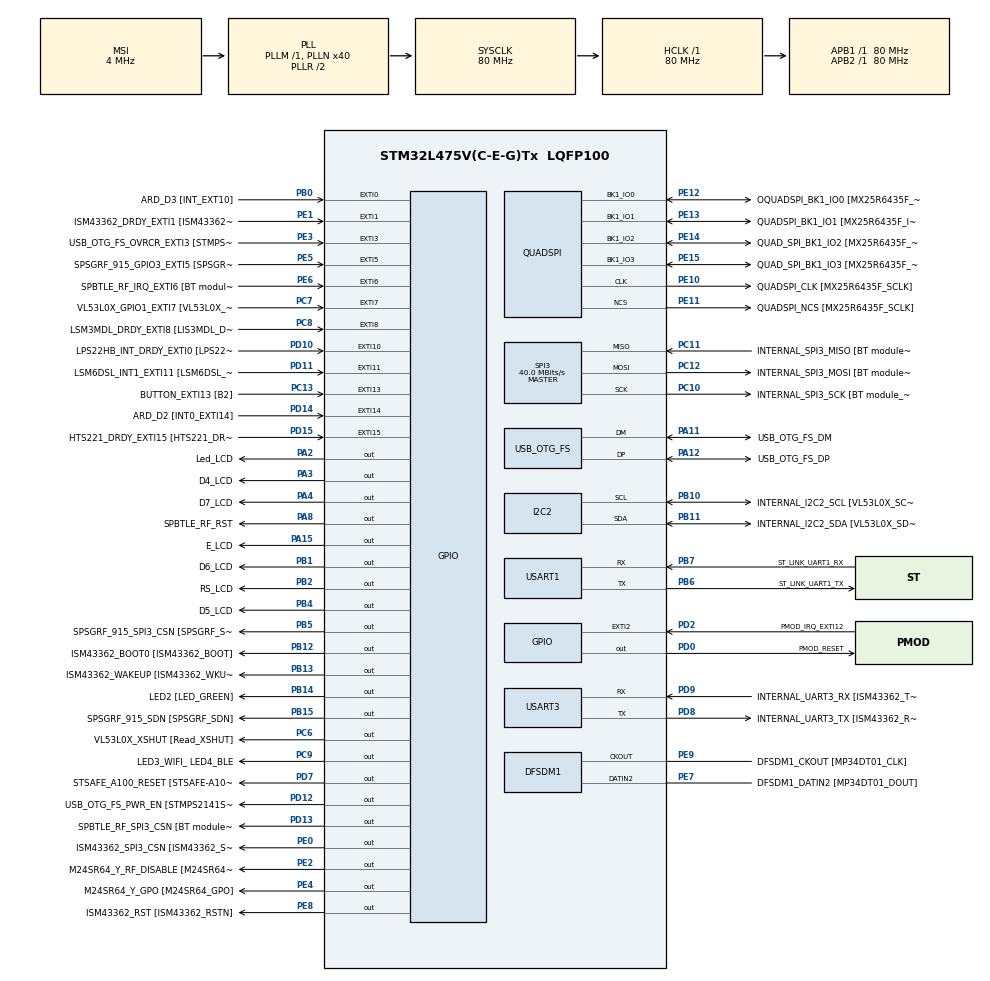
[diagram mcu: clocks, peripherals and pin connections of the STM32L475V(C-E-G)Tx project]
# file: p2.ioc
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Mcu.Family=STM32L4
Mcu.Name=STM32L475V(C-E-G)Tx
Mcu.Package=LQFP100
NVIC.EXTI15_10_IRQn=true\:0\:0\:false\:false\:true\:true\:true
NVIC.EXTI9_5_IRQn=true\:0\:0\:false\:false\:true\:true\:true
NVIC.PriorityGroup=NVIC_PRIORITYGROUP_4
PA0.GPIO_Label=ARD_D1 [UART4_TX]
PA0.Signal=UART4_TX
PA1.GPIO_Label=ARD_D0 [UART4_RX]
PA1.Signal=UART4_RX
PA10.GPIO_Label=USB_OTG_FS_ID
PA10.Signal=USB_OTG_FS_ID
PA11.GPIO_Label=USB_OTG_FS_DM
PA11.Mode=Device_Only
PA11.Signal=USB_OTG_FS_DM
PA12.GPIO_Label=USB_OTG_FS_DP
PA12.Mode=Device_Only
PA12.Signal=USB_OTG_FS_DP
PA13\ (JTMS-SWDIO).GPIO_Label=SYS_JTMS_SWDIO
PA13\ (JTMS-SWDIO).Mode=Serial_Wire
PA13\ (JTMS-SWDIO).Signal=SYS_JTMS-SWDIO
PA14\ (JTCK-SWCLK).GPIO_Label=SYS_JTCK_SWCLK
PA14\ (JTCK-SWCLK).Mode=Serial_Wire
PA14\ (JTCK-SWCLK).Signal=SYS_JTCK-SWCLK
PA15\ (JTDI).GPIO_Label=E_LCD
PA15\ (JTDI).Signal=GPIO_Output
PA2.GPIO_Label=Led_LCD
PA2.Signal=GPIO_Output
PA3.GPIO_Label=D4_LCD
PA3.Signal=GPIO_Output
PA4.GPIO_Label=D7_LCD
PA4.Signal=GPIO_Output
PA5.GPIO_Label=ARD_D13 [SPI1_SCK]
PA5.Signal=SPI1_SCK
PA6.GPIO_Label=ARD_D12 [SPI1_MISO]
PA6.Signal=SPI1_MISO
PA7.GPIO_Label=ARD_D11 [SPI1_MOSI]
PA7.Signal=SPI1_MOSI
PA8.GPIO_Label=SPBTLE_RF_RST
PA8.Signal=GPIO_Output
PA9.GPIO_Label=USB_OTG_FS_VBUS [STMPS2141STR_OUT]
PA9.Signal=USB_OTG_FS_VBUS
PB0.GPIO_Label=ARD_D3 [INT_EXT10]
PB0.Signal=GPXTI0
PB1.GPIO_Label=D6_LCD
PB1.Signal=GPIO_Output
PB10.GPIO_Label=INTERNAL_I2C2_SCL [VL53L0X_SCL]
PB10.Mode=I2C
PB10.Signal=I2C2_SCL
PB11.GPIO_Label=INTERNAL_I2C2_SDA [VL53L0X_SDA]
PB11.Mode=I2C
PB11.Signal=I2C2_SDA
PB12.GPIO_Label=ISM43362_BOOT0 [ISM43362_BOOT]
PB12.Signal=GPIO_Output
PB13.GPIO_Label=ISM43362_WAKEUP [ISM43362_WKUP]
PB13.Signal=GPIO_Output
PB14.GPIO_Label=LED2 [LED_GREEN]
PB14.Signal=GPIO_Output
PB15.GPIO_Label=SPSGRF_915_SDN [SPSGRF_SDN]
PB15.Signal=GPIO_Output
PB2.GPIO_Label=RS_LCD
PB2.Signal=GPIO_Output
PB3\ (JTDO-TRACESWO).GPIO_Label=SYS_JTD0_SWO
PB3\ (JTDO-TRACESWO).Signal=SYS_JTDO-SWO
PB4\ (NJTRST).GPIO_Label=D5_LCD
PB4\ (NJTRST).Signal=GPIO_Output
PB5.GPIO_Label=SPSGRF_915_SPI3_CSN [SPSGRF_SPI_CS]
PB5.PinState=GPIO_PIN_SET
PB5.Signal=GPIO_Output
PB6.GPIO_Label=ST_LINK_UART1_TX
PB6.Mode=Asynchronous
PB6.Signal=USART1_TX
PB7.GPIO_Label=ST_LINK_UART1_RX
PB7.Mode=Asynchronous
PB7.Signal=USART1_RX
PB8.GPIO_Label=ARD_D15 [I2C1_SCL]
PB8.Signal=I2C1_SCL
PB9.GPIO_Label=ARD_D14 [I2C1_SDA]
PB9.Signal=I2C1_SDA
PC0.GPIO_Label=ARD_A5 [ADC]
PC0.Signal=ADCx_IN1
PC1.GPIO_Label=ARD_A4 [ADC]
PC1.Signal=ADCx_IN2
PC10.GPIO_Label=INTERNAL_SPI3_SCK [BT module_SPI_SCLK] [ISM43362_SCK]
PC10.Mode=Full_Duplex_Master
PC10.Signal=SPI3_SCK
PC11.GPIO_Label=INTERNAL_SPI3_MISO [BT module_SPI_MISO] [ISM43362_MISO]
PC11.Mode=Full_Duplex_Master
PC11.Signal=SPI3_MISO
PC12.GPIO_Label=INTERNAL_SPI3_MOSI [BT module_SPI_MOSI] [ISM43362_MOSI]
PC12.Mode=Full_Duplex_Master
PC12.Signal=SPI3_MOSI
PC13.GPIO_Label=BUTTON_EXTI13 [B2]
PC13.GPIO_ModeDefaultEXTI=GPIO_MODE_IT_FALLING
PC13.Signal=GPXTI13
PC14-OSC32_IN\ (PC14).Mode=LSE-External-Oscillator
PC14-OSC32_IN\ (PC14).Signal=RCC_OSC32_IN
PC15-OSC32_OUT\ (PC15).Mode=LSE-External-Oscillator
PC15-OSC32_OUT\ (PC15).Signal=RCC_OSC32_OUT
PC2.GPIO_Label=ARD_A3 [ADC]
PC2.Signal=ADCx_IN3
PC3.GPIO_Label=ARD_A2 [ADC]
PC3.Signal=ADCx_IN4
PC4.GPIO_Label=ARD_A1 [ADC]
PC4.Signal=ADCx_IN13
PC5.GPIO_Label=ARD_A0 [ADC]
PC5.Signal=ADCx_IN14
PC6.GPIO_Label=VL53L0X_XSHUT [Read_XSHUT]
PC6.Signal=GPIO_Output
PC7.GPIO_Label=VL53L0X_GPIO1_EXTI7 [VL53L0X_GPIO1]
PC7.Signal=GPXTI7
PC8.GPIO_Label=LSM3MDL_DRDY_EXTI8 [LIS3MDL_DRDY]
PC8.Signal=GPXTI8
PC9.GPIO_Label=LED3_WIFI_ LED4_BLE
PC9.Signal=GPIO_Output
PD0.GPIO_Label=PMOD_RESET
PD0.Signal=GPIO_Output
PD1.GPIO_Label=PMOD_SPI2_SCK
PD1.Signal=SPI2_SCK
PD10.GPIO_Label=LPS22HB_INT_DRDY_EXTI0 [LPS22HB_INT_DRDY] 
PD10.Signal=GPXTI10
PD11.GPIO_Label=LSM6DSL_INT1_EXTI11 [LSM6DSL_INT1]
PD11.Signal=GPXTI11
PD12.GPIO_Label=USB_OTG_FS_PWR_EN [STMPS2141STR_EN]
PD12.Signal=GPIO_Output
PD13.GPIO_Label=SPBTLE_RF_SPI3_CSN [BT module_SPI_CS]
PD13.PinState=GPIO_PIN_SET
PD13.Signal=GPIO_Output
PD14.GPIO_Label=ARD_D2 [INT0_EXTI14]
PD14.Signal=GPXTI14
PD15.GPIO_Label=HTS221_DRDY_EXTI15 [HTS221_DRDY]
PD15.Signal=GPXTI15
PD2.GPIO_Label=PMOD_IRQ_EXTI12
PD2.Signal=GPXTI2
PD3.GPIO_Label=PMOD_UART2_CTS
PD3.Signal=USART2_CTS
PD4.GPIO_Label=PMOD_UART2_RTS
PD4.Signal=USART2_RTS
PD5.GPIO_Label=PMOD_UART2_TX
PD5.Signal=USART2_TX
PD6.GPIO_Label=PMOD_UART2_RX
PD6.Signal=USART2_RX
PD7.GPIO_Label=STSAFE_A100_RESET [STSAFE-A100_RESET]
PD7.Signal=GPIO_Output
PD8.GPIO_Label=INTERNAL_UART3_TX [ISM43362_RX]
PD8.Mode=Asynchronous
PD8.Signal=USART3_TX
PD9.GPIO_Label=INTERNAL_UART3_RX [ISM43362_TX]
PD9.Mode=Asynchronous
PD9.Signal=USART3_RX
PE0.GPIO_Label=ISM43362_SPI3_CSN [ISM43362_SSN]
PE0.PinState=GPIO_PIN_SET
PE0.Signal=GPIO_Output
PE1.GPIO_Label=ISM43362_DRDY_EXTI1 [ISM43362_DATARDY]
PE1.Signal=GPXTI1
PE10.GPIO_Label=QUADSPI_CLK [MX25R6435F_SCLK]
PE10.Mode=Single Bank
PE10.Signal=QUADSPI_CLK
PE11.GPIO_Label=QUADSPI_NCS [MX25R6435F_SCLK]
PE11.Mode=Single Bank
PE11.Signal=QUADSPI_NCS
PE12.GPIO_Label=OQUADSPI_BK1_IO0 [MX25R6435F_IO0]
PE12.Mode=Single Bank
PE12.Signal=QUADSPI_BK1_IO0
PE13.GPIO_Label=QUADSPI_BK1_IO1 [MX25R6435F_IO1]
PE13.Mode=Single Bank
PE13.Signal=QUADSPI_BK1_IO1
PE14.GPIO_Label=QUAD_SPI_BK1_IO2 [MX25R6435F_IO2]
PE14.Mode=Single Bank
PE14.Signal=QUADSPI_BK1_IO2
PE15.GPIO_Label=QUAD_SPI_BK1_IO3 [MX25R6435F_IO3]
PE15.Mode=Single Bank
PE15.Signal=QUADSPI_BK1_IO3
PE2.GPIO_Label=M24SR64_Y_RF_DISABLE [M24SR64_RFDIS]
PE2.Signal=GPIO_Output
PE3.GPIO_Label=USB_OTG_FS_OVRCR_EXTI3 [STMPS2141STR_FAULT]
PE3.Signal=GPXTI3
PE4.GPIO_Label=M24SR64_Y_GPO [M24SR64_GPO]
PE4.Signal=GPIO_Output
PE5.GPIO_Label=SPSGRF_915_GPIO3_EXTI5 [SPSGRF_GPIO_3]
PE5.Signal=GPXTI5
PE6.GPIO_Label=SPBTLE_RF_IRQ_EXTI6 [BT module_SPI_IRQ]
PE6.Signal=GPXTI6
PE7.GPIO_Label=DFSDM1_DATIN2 [MP34DT01_DOUT]
PE7.Signal=S_DATAIN2DFSDM1
PE8.GPIO_Label=ISM43362_RST [ISM43362_RSTN]
PE8.Signal=GPIO_Output
PE9.GPIO_Label=DFSDM1_CKOUT [MP34DT01_CLK]
PE9.Signal=S_CKOUTDFSDM1
ProjectManager.HeapSize=0x200
ProjectManager.StackSize=0x400
ProjectManager.TargetToolchain=STM32CubeIDE
RCC.ADCFreq_Value=48000000
RCC.AHBFreq_Value=80000000
RCC.APB1Freq_Value=80000000
RCC.APB1TimFreq_Value=80000000
RCC.APB2Freq_Value=80000000
RCC.APB2TimFreq_Value=80000000
RCC.CortexFreq_Value=80000000
RCC.HCLKFreq_Value=80000000
RCC.HSE_VALUE=8000000
RCC.HSI_VALUE=16000000
RCC.MSI_VALUE=4000000
RCC.PLLN=40
RCC.PLLSAI1N=24
RCC.SYSCLKFreq_VALUE=80000000
RCC.SYSCLKSource=RCC_SYSCLKSOURCE_PLLCLK
RCC.USBFreq_Value=48000000
RCC.VCOOutputFreq_Value=160000000
SH.ADCx_IN1.0=ADC1_IN1
SH.ADCx_IN13.0=ADC1_IN13
SH.ADCx_IN14.0=ADC1_IN14
SH.ADCx_IN2.0=ADC1_IN2
SH.ADCx_IN3.0=ADC1_IN3
SH.ADCx_IN4.0=ADC1_IN4
SH.S_CKOUTDFSDM1.0=DFSDM1_CKOUT,CKOUT
SH.S_CKOUTDFSDM1.1=DFSDM1_CKOUT,PDM_SPI_Input_from_ch12_and_Internal_Clock
SH.S_DATAIN2DFSDM1.0=DFSDM1_DATIN2,PDM_SPI_Input_from_ch12_and_Internal_Clock
SPI3.CalculateBaudRate=40.0 MBits/s
SPI3.Direction=SPI_DIRECTION_2LINES
SPI3.Mode=SPI_MODE_MASTER
SPI3.VirtualType=VM_MASTER
USART1.VirtualMode-Asynchronous=VM_ASYNC
USART3.VirtualMode-Asynchronous=VM_ASYNC
USB_OTG_FS.VirtualMode=Device_Only
board=B-L475E-IOT01A1

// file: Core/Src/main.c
/* USER CODE BEGIN Header */
/**
  ******************************************************************************
  * @file           : main.c
  * @brief          : Main program body
  ******************************************************************************
  * @attention
  *
  * <h2><center>&copy; Copyright (c) 2024 STMicroelectronics.
  * All rights reserved.</center></h2>
  *
  * This software component is licensed by ST under BSD 3-Clause license,
  * the "License"; You may not use this file except in compliance with the
  * License. You may obtain a copy of the License at:
  *                        opensource.org/licenses/BSD-3-Clause
  *
  ******************************************************************************
  */
/* USER CODE END Header */

#include "main.h"

/* USER CODE BEGIN Includes */
#include "hd44780.h"
/* USER CODE END Includes */

DFSDM_Channel_HandleTypeDef hdfsdm1_channel1;

I2C_HandleTypeDef hi2c2;

QSPI_HandleTypeDef hqspi;

SPI_HandleTypeDef hspi3;

UART_HandleTypeDef huart1;
UART_HandleTypeDef huart3;

PCD_HandleTypeDef hpcd_USB_OTG_FS;

void SystemClock_Config(void);
static void MX_GPIO_Init(void);
static void MX_DFSDM1_Init(void);
static void MX_I2C2_Init(void);
static void MX_QUADSPI_Init(void);
static void MX_SPI3_Init(void);
static void MX_USART1_UART_Init(void);
static void MX_USART3_UART_Init(void);
static void MX_USB_OTG_FS_PCD_Init(void);

int main(void)
{

  /* MCU Configuration--------------------------------------------------------*/

  /* Reset of all peripherals, Initializes the Flash interface and the Systick. */
  HAL_Init();

  /* Configure the system clock */
  SystemClock_Config();

  /* Initialize all configured peripherals */
  MX_GPIO_Init();
  MX_DFSDM1_Init();
  MX_I2C2_Init();
  MX_QUADSPI_Init();
  MX_SPI3_Init();
  MX_USART1_UART_Init();
  MX_USART3_UART_Init();
  MX_USB_OTG_FS_PCD_Init();
  /* USER CODE BEGIN 2 */
  LL_GPIO_SetOutputPin(GPIOA, Led_LCD_Pin);
  lcd_reset();
  lcd_display_settings(1,0,0);
  lcd_clear();
  lcd_print("Hola mundo");

  lcd_cgram_address(0); // se selecciona la dirección 0 de la CGRAM, patrón con código 0
  lcd_write(0x15, 1); //se va cargando con los bytes del patrón de cada fila de la CGRAM
  lcd_write(0x15, 1);
  lcd_write(0xe, 1);
  lcd_write(0x4, 1);
  lcd_write(0x4, 1);
  lcd_write(0xa, 1);
  lcd_write(0x11, 1);
  lcd_write(0x00, 1);
  lcd_cgram_address(8); //se selecciona la dirección 8 de la CGRAM, patrón con código 1
  lcd_write(0x4, 1); // se va cargando con los bytes del patrón de cada fila de la CGRAM
  lcd_write(0x4, 1);
  lcd_write(0xe, 1);
  lcd_write(0x15, 1);
  lcd_write(0x15, 1);
  lcd_write(0xa, 1);
  lcd_write(0xa, 1);
  lcd_write(0x00, 1);
  lcd_display_address(0); //Vuelve a direccionar la DDRAM para visualizar datos en pantalla
  /* USER CODE END 2 */

  /* Infinite loop */
  /* USER CODE BEGIN WHILE */
  while (1)
  {
	  moveToXY(1,7); //sitúa el cursor en la posición fila 1 columna 7, primer muñeco
	    lcd_write(0,1); //escribe el nuevo patrón 0 en la DDRAM
	    moveToXY(1,8); //sitúa el cursor en la posición fila 1 columna 7, segundo muñeco
	    lcd_write(0,1);
	    HAL_Delay(1000); //retraso de 1 segundo para dejar ver la figura en pantalla

	    moveToXY(1,7);
	    lcd_write(1,1); //escribe el nuevo patrón 0 en la DDRAM
	    moveToXY(1,8);
	    lcd_write(1,1);
	    HAL_Delay(1000);
    /* USER CODE END WHILE */

  }
}

void SystemClock_Config(void)
{
  RCC_OscInitTypeDef RCC_OscInitStruct = {0};
  RCC_ClkInitTypeDef RCC_ClkInitStruct = {0};
  RCC_PeriphCLKInitTypeDef PeriphClkInit = {0};

  /** Configure LSE Drive Capability
  */
  HAL_PWR_EnableBkUpAccess();
  __HAL_RCC_LSEDRIVE_CONFIG(RCC_LSEDRIVE_LOW);
  /** Initializes the CPU, AHB and APB busses clocks
  */
  RCC_OscInitStruct.OscillatorType = RCC_OSCILLATORTYPE_LSE|RCC_OSCILLATORTYPE_MSI;
  RCC_OscInitStruct.LSEState = RCC_LSE_ON;
  RCC_OscInitStruct.MSIState = RCC_MSI_ON;
  RCC_OscInitStruct.MSICalibrationValue = 0;
  RCC_OscInitStruct.MSIClockRange = RCC_MSIRANGE_6;
  RCC_OscInitStruct.PLL.PLLState = RCC_PLL_ON;
  RCC_OscInitStruct.PLL.PLLSource = RCC_PLLSOURCE_MSI;
  RCC_OscInitStruct.PLL.PLLM = 1;
  RCC_OscInitStruct.PLL.PLLN = 40;
  RCC_OscInitStruct.PLL.PLLP = RCC_PLLP_DIV7;
  RCC_OscInitStruct.PLL.PLLQ = RCC_PLLQ_DIV2;
  RCC_OscInitStruct.PLL.PLLR = RCC_PLLR_DIV2;
  if (HAL_RCC_OscConfig(&RCC_OscInitStruct) != HAL_OK)
  {
    Error_Handler();
  }
  /** Initializes the CPU, AHB and APB busses clocks
  */
  RCC_ClkInitStruct.ClockType = RCC_CLOCKTYPE_HCLK|RCC_CLOCKTYPE_SYSCLK
                              |RCC_CLOCKTYPE_PCLK1|RCC_CLOCKTYPE_PCLK2;
  RCC_ClkInitStruct.SYSCLKSource = RCC_SYSCLKSOURCE_PLLCLK;
  RCC_ClkInitStruct.AHBCLKDivider = RCC_SYSCLK_DIV1;
  RCC_ClkInitStruct.APB1CLKDivider = RCC_HCLK_DIV1;
  RCC_ClkInitStruct.APB2CLKDivider = RCC_HCLK_DIV1;

  if (HAL_RCC_ClockConfig(&RCC_ClkInitStruct, FLASH_LATENCY_4) != HAL_OK)
  {
    Error_Handler();
  }
  PeriphClkInit.PeriphClockSelection = RCC_PERIPHCLK_USART1|RCC_PERIPHCLK_USART3
                              |RCC_PERIPHCLK_I2C2|RCC_PERIPHCLK_DFSDM1
                              |RCC_PERIPHCLK_USB;
  PeriphClkInit.Usart1ClockSelection = RCC_USART1CLKSOURCE_PCLK2;
  PeriphClkInit.Usart3ClockSelection = RCC_USART3CLKSOURCE_PCLK1;
  PeriphClkInit.I2c2ClockSelection = RCC_I2C2CLKSOURCE_PCLK1;
  PeriphClkInit.Dfsdm1ClockSelection = RCC_DFSDM1CLKSOURCE_PCLK;
  PeriphClkInit.UsbClockSelection = RCC_USBCLKSOURCE_PLLSAI1;
  PeriphClkInit.PLLSAI1.PLLSAI1Source = RCC_PLLSOURCE_MSI;
  PeriphClkInit.PLLSAI1.PLLSAI1M = 1;
  PeriphClkInit.PLLSAI1.PLLSAI1N = 24;
  PeriphClkInit.PLLSAI1.PLLSAI1P = RCC_PLLP_DIV7;
  PeriphClkInit.PLLSAI1.PLLSAI1Q = RCC_PLLQ_DIV2;
  PeriphClkInit.PLLSAI1.PLLSAI1R = RCC_PLLR_DIV2;
  PeriphClkInit.PLLSAI1.PLLSAI1ClockOut = RCC_PLLSAI1_48M2CLK;
  if (HAL_RCCEx_PeriphCLKConfig(&PeriphClkInit) != HAL_OK)
  {
    Error_Handler();
  }
  /** Configure the main internal regulator output voltage
  */
  if (HAL_PWREx_ControlVoltageScaling(PWR_REGULATOR_VOLTAGE_SCALE1) != HAL_OK)
  {
    Error_Handler();
  }
  /** Enable MSI Auto calibration
  */
  HAL_RCCEx_EnableMSIPLLMode();
}

static void MX_DFSDM1_Init(void)
{

  hdfsdm1_channel1.Instance = DFSDM1_Channel1;
  hdfsdm1_channel1.Init.OutputClock.Activation = ENABLE;
  hdfsdm1_channel1.Init.OutputClock.Selection = DFSDM_CHANNEL_OUTPUT_CLOCK_SYSTEM;
  hdfsdm1_channel1.Init.OutputClock.Divider = 2;
  hdfsdm1_channel1.Init.Input.Multiplexer = DFSDM_CHANNEL_EXTERNAL_INPUTS;
  hdfsdm1_channel1.Init.Input.DataPacking = DFSDM_CHANNEL_STANDARD_MODE;
  hdfsdm1_channel1.Init.Input.Pins = DFSDM_CHANNEL_FOLLOWING_CHANNEL_PINS;
  hdfsdm1_channel1.Init.SerialInterface.Type = DFSDM_CHANNEL_SPI_RISING;
  hdfsdm1_channel1.Init.SerialInterface.SpiClock = DFSDM_CHANNEL_SPI_CLOCK_INTERNAL;
  hdfsdm1_channel1.Init.Awd.FilterOrder = DFSDM_CHANNEL_FASTSINC_ORDER;
  hdfsdm1_channel1.Init.Awd.Oversampling = 1;
  hdfsdm1_channel1.Init.Offset = 0;
  hdfsdm1_channel1.Init.RightBitShift = 0x00;
  if (HAL_DFSDM_ChannelInit(&hdfsdm1_channel1) != HAL_OK)
  {
    Error_Handler();
  }

}

static void MX_I2C2_Init(void)
{

  hi2c2.Instance = I2C2;
  hi2c2.Init.Timing = 0x00000E14;
  hi2c2.Init.OwnAddress1 = 0;
  hi2c2.Init.AddressingMode = I2C_ADDRESSINGMODE_7BIT;
  hi2c2.Init.DualAddressMode = I2C_DUALADDRESS_DISABLE;
  hi2c2.Init.OwnAddress2 = 0;
  hi2c2.Init.OwnAddress2Masks = I2C_OA2_NOMASK;
  hi2c2.Init.GeneralCallMode = I2C_GENERALCALL_DISABLE;
  hi2c2.Init.NoStretchMode = I2C_NOSTRETCH_DISABLE;
  if (HAL_I2C_Init(&hi2c2) != HAL_OK)
  {
    Error_Handler();
  }
  /** Configure Analogue filter
  */
  if (HAL_I2CEx_ConfigAnalogFilter(&hi2c2, I2C_ANALOGFILTER_ENABLE) != HAL_OK)
  {
    Error_Handler();
  }
  /** Configure Digital filter
  */
  if (HAL_I2CEx_ConfigDigitalFilter(&hi2c2, 0) != HAL_OK)
  {
    Error_Handler();
  }

}

static void MX_QUADSPI_Init(void)
{

  /* QUADSPI parameter configuration*/
  hqspi.Instance = QUADSPI;
  hqspi.Init.ClockPrescaler = 255;
  hqspi.Init.FifoThreshold = 1;
  hqspi.Init.SampleShifting = QSPI_SAMPLE_SHIFTING_NONE;
  hqspi.Init.FlashSize = 1;
  hqspi.Init.ChipSelectHighTime = QSPI_CS_HIGH_TIME_1_CYCLE;
  hqspi.Init.ClockMode = QSPI_CLOCK_MODE_0;
  if (HAL_QSPI_Init(&hqspi) != HAL_OK)
  {
    Error_Handler();
  }

}

static void MX_SPI3_Init(void)
{

  /* SPI3 parameter configuration*/
  hspi3.Instance = SPI3;
  hspi3.Init.Mode = SPI_MODE_MASTER;
  hspi3.Init.Direction = SPI_DIRECTION_2LINES;
  hspi3.Init.DataSize = SPI_DATASIZE_4BIT;
  hspi3.Init.CLKPolarity = SPI_POLARITY_LOW;
  hspi3.Init.CLKPhase = SPI_PHASE_1EDGE;
  hspi3.Init.NSS = SPI_NSS_SOFT;
  hspi3.Init.BaudRatePrescaler = SPI_BAUDRATEPRESCALER_2;
  hspi3.Init.FirstBit = SPI_FIRSTBIT_MSB;
  hspi3.Init.TIMode = SPI_TIMODE_DISABLE;
  hspi3.Init.CRCCalculation = SPI_CRCCALCULATION_DISABLE;
  hspi3.Init.CRCPolynomial = 7;
  hspi3.Init.CRCLength = SPI_CRC_LENGTH_DATASIZE;
  hspi3.Init.NSSPMode = SPI_NSS_PULSE_ENABLE;
  if (HAL_SPI_Init(&hspi3) != HAL_OK)
  {
    Error_Handler();
  }

}

static void MX_USART1_UART_Init(void)
{

  huart1.Instance = USART1;
  huart1.Init.BaudRate = 115200;
  huart1.Init.WordLength = UART_WORDLENGTH_8B;
  huart1.Init.StopBits = UART_STOPBITS_1;
  huart1.Init.Parity = UART_PARITY_NONE;
  huart1.Init.Mode = UART_MODE_TX_RX;
  huart1.Init.HwFlowCtl = UART_HWCONTROL_NONE;
  huart1.Init.OverSampling = UART_OVERSAMPLING_16;
  huart1.Init.OneBitSampling = UART_ONE_BIT_SAMPLE_DISABLE;
  huart1.AdvancedInit.AdvFeatureInit = UART_ADVFEATURE_NO_INIT;
  if (HAL_UART_Init(&huart1) != HAL_OK)
  {
    Error_Handler();
  }

}

static void MX_USART3_UART_Init(void)
{

  huart3.Instance = USART3;
  huart3.Init.BaudRate = 115200;
  huart3.Init.WordLength = UART_WORDLENGTH_8B;
  huart3.Init.StopBits = UART_STOPBITS_1;
  huart3.Init.Parity = UART_PARITY_NONE;
  huart3.Init.Mode = UART_MODE_TX_RX;
  huart3.Init.HwFlowCtl = UART_HWCONTROL_NONE;
  huart3.Init.OverSampling = UART_OVERSAMPLING_16;
  huart3.Init.OneBitSampling = UART_ONE_BIT_SAMPLE_DISABLE;
  huart3.AdvancedInit.AdvFeatureInit = UART_ADVFEATURE_NO_INIT;
  if (HAL_UART_Init(&huart3) != HAL_OK)
  {
    Error_Handler();
  }

}

static void MX_USB_OTG_FS_PCD_Init(void)
{

  hpcd_USB_OTG_FS.Instance = USB_OTG_FS;
  hpcd_USB_OTG_FS.Init.dev_endpoints = 6;
  hpcd_USB_OTG_FS.Init.speed = PCD_SPEED_FULL;
  hpcd_USB_OTG_FS.Init.phy_itface = PCD_PHY_EMBEDDED;
  hpcd_USB_OTG_FS.Init.Sof_enable = DISABLE;
  hpcd_USB_OTG_FS.Init.low_power_enable = DISABLE;
  hpcd_USB_OTG_FS.Init.lpm_enable = DISABLE;
  hpcd_USB_OTG_FS.Init.battery_charging_enable = DISABLE;
  hpcd_USB_OTG_FS.Init.use_dedicated_ep1 = DISABLE;
  hpcd_USB_OTG_FS.Init.vbus_sensing_enable = DISABLE;
  if (HAL_PCD_Init(&hpcd_USB_OTG_FS) != HAL_OK)
  {
    Error_Handler();
  }

}

static void MX_GPIO_Init(void)
{
  LL_EXTI_InitTypeDef EXTI_InitStruct = {0};
  LL_GPIO_InitTypeDef GPIO_InitStruct = {0};

  /* GPIO Ports Clock Enable */
  LL_AHB2_GRP1_EnableClock(LL_AHB2_GRP1_PERIPH_GPIOE);
  LL_AHB2_GRP1_EnableClock(LL_AHB2_GRP1_PERIPH_GPIOC);
  LL_AHB2_GRP1_EnableClock(LL_AHB2_GRP1_PERIPH_GPIOA);
  LL_AHB2_GRP1_EnableClock(LL_AHB2_GRP1_PERIPH_GPIOB);
  LL_AHB2_GRP1_EnableClock(LL_AHB2_GRP1_PERIPH_GPIOD);

  /**/
  LL_GPIO_ResetOutputPin(GPIOE, M24SR64_Y_RF_DISABLE_Pin|M24SR64_Y_GPO_Pin|ISM43362_RST_Pin);

  /**/
  LL_GPIO_ResetOutputPin(GPIOA, Led_LCD_Pin|D4_LCD_Pin|D7_LCD_Pin|SPBTLE_RF_RST_Pin
                          |E_LCD_Pin);

  /**/
  LL_GPIO_ResetOutputPin(GPIOB, D6_LCD_Pin|RS_LCD_Pin|ISM43362_BOOT0_Pin|ISM43362_WAKEUP_Pin
                          |LED2_Pin|SPSGRF_915_SDN_Pin|D5_LCD_Pin);

  /**/
  LL_GPIO_ResetOutputPin(GPIOD, USB_OTG_FS_PWR_EN_Pin|PMOD_RESET_Pin|STSAFE_A100_RESET_Pin);

  /**/
  LL_GPIO_ResetOutputPin(GPIOC, VL53L0X_XSHUT_Pin|LED3_WIFI__LED4_BLE_Pin);

  /**/
  LL_GPIO_SetOutputPin(SPBTLE_RF_SPI3_CSN_GPIO_Port, SPBTLE_RF_SPI3_CSN_Pin);

  /**/
  LL_GPIO_SetOutputPin(SPSGRF_915_SPI3_CSN_GPIO_Port, SPSGRF_915_SPI3_CSN_Pin);

  /**/
  LL_GPIO_SetOutputPin(ISM43362_SPI3_CSN_GPIO_Port, ISM43362_SPI3_CSN_Pin);

  /**/
  GPIO_InitStruct.Pin = M24SR64_Y_RF_DISABLE_Pin|M24SR64_Y_GPO_Pin|ISM43362_RST_Pin|ISM43362_SPI3_CSN_Pin;
  GPIO_InitStruct.Mode = LL_GPIO_MODE_OUTPUT;
  GPIO_InitStruct.Speed = LL_GPIO_SPEED_FREQ_LOW;
  GPIO_InitStruct.OutputType = LL_GPIO_OUTPUT_PUSHPULL;
  GPIO_InitStruct.Pull = LL_GPIO_PULL_NO;
  LL_GPIO_Init(GPIOE, &GPIO_InitStruct);

  /**/
  GPIO_InitStruct.Pin = ARD_A5_Pin|ARD_A4_Pin|ARD_A3_Pin|ARD_A2_Pin
                          |ARD_A1_Pin|ARD_A0_Pin;
  GPIO_InitStruct.Mode = LL_GPIO_MODE_ANALOG;
  GPIO_InitStruct.Pull = LL_GPIO_PULL_NO;
  LL_GPIO_Init(GPIOC, &GPIO_InitStruct);

  /**/
  GPIO_InitStruct.Pin = ARD_D1_Pin|ARD_D0_Pin;
  GPIO_InitStruct.Mode = LL_GPIO_MODE_ALTERNATE;
  GPIO_InitStruct.Speed = LL_GPIO_SPEED_FREQ_VERY_HIGH;
  GPIO_InitStruct.OutputType = LL_GPIO_OUTPUT_PUSHPULL;
  GPIO_InitStruct.Pull = LL_GPIO_PULL_NO;
  GPIO_InitStruct.Alternate = LL_GPIO_AF_8;
  LL_GPIO_Init(GPIOA, &GPIO_InitStruct);

  /**/
  GPIO_InitStruct.Pin = Led_LCD_Pin|D4_LCD_Pin|D7_LCD_Pin|SPBTLE_RF_RST_Pin
                          |E_LCD_Pin;
  GPIO_InitStruct.Mode = LL_GPIO_MODE_OUTPUT;
  GPIO_InitStruct.Speed = LL_GPIO_SPEED_FREQ_LOW;
  GPIO_InitStruct.OutputType = LL_GPIO_OUTPUT_PUSHPULL;
  GPIO_InitStruct.Pull = LL_GPIO_PULL_NO;
  LL_GPIO_Init(GPIOA, &GPIO_InitStruct);

  /**/
  GPIO_InitStruct.Pin = ARD_D13_Pin|ARD_D12_Pin|ARD_D11_Pin;
  GPIO_InitStruct.Mode = LL_GPIO_MODE_ALTERNATE;
  GPIO_InitStruct.Speed = LL_GPIO_SPEED_FREQ_VERY_HIGH;
  GPIO_InitStruct.OutputType = LL_GPIO_OUTPUT_PUSHPULL;
  GPIO_InitStruct.Pull = LL_GPIO_PULL_NO;
  GPIO_InitStruct.Alternate = LL_GPIO_AF_5;
  LL_GPIO_Init(GPIOA, &GPIO_InitStruct);

  /**/
  GPIO_InitStruct.Pin = D6_LCD_Pin|RS_LCD_Pin|ISM43362_BOOT0_Pin|ISM43362_WAKEUP_Pin
                          |LED2_Pin|SPSGRF_915_SDN_Pin|D5_LCD_Pin|SPSGRF_915_SPI3_CSN_Pin;
  GPIO_InitStruct.Mode = LL_GPIO_MODE_OUTPUT;
  GPIO_InitStruct.Speed = LL_GPIO_SPEED_FREQ_LOW;
  GPIO_InitStruct.OutputType = LL_GPIO_OUTPUT_PUSHPULL;
  GPIO_InitStruct.Pull = LL_GPIO_PULL_NO;
  LL_GPIO_Init(GPIOB, &GPIO_InitStruct);

  /**/
  GPIO_InitStruct.Pin = USB_OTG_FS_PWR_EN_Pin|SPBTLE_RF_SPI3_CSN_Pin|PMOD_RESET_Pin|STSAFE_A100_RESET_Pin;
  GPIO_InitStruct.Mode = LL_GPIO_MODE_OUTPUT;
  GPIO_InitStruct.Speed = LL_GPIO_SPEED_FREQ_LOW;
  GPIO_InitStruct.OutputType = LL_GPIO_OUTPUT_PUSHPULL;
  GPIO_InitStruct.Pull = LL_GPIO_PULL_NO;
  LL_GPIO_Init(GPIOD, &GPIO_InitStruct);

  /**/
  GPIO_InitStruct.Pin = VL53L0X_XSHUT_Pin|LED3_WIFI__LED4_BLE_Pin;
  GPIO_InitStruct.Mode = LL_GPIO_MODE_OUTPUT;
  GPIO_InitStruct.Speed = LL_GPIO_SPEED_FREQ_LOW;
  GPIO_InitStruct.OutputType = LL_GPIO_OUTPUT_PUSHPULL;
  GPIO_InitStruct.Pull = LL_GPIO_PULL_NO;
  LL_GPIO_Init(GPIOC, &GPIO_InitStruct);

  /**/
  GPIO_InitStruct.Pin = PMOD_SPI2_SCK_Pin;
  GPIO_InitStruct.Mode = LL_GPIO_MODE_ALTERNATE;
  GPIO_InitStruct.Speed = LL_GPIO_SPEED_FREQ_VERY_HIGH;
  GPIO_InitStruct.OutputType = LL_GPIO_OUTPUT_PUSHPULL;
  GPIO_InitStruct.Pull = LL_GPIO_PULL_NO;
  GPIO_InitStruct.Alternate = LL_GPIO_AF_5;
  LL_GPIO_Init(PMOD_SPI2_SCK_GPIO_Port, &GPIO_InitStruct);

  /**/
  GPIO_InitStruct.Pin = PMOD_UART2_CTS_Pin|PMOD_UART2_RTS_Pin|PMOD_UART2_TX_Pin|PMOD_UART2_RX_Pin;
  GPIO_InitStruct.Mode = LL_GPIO_MODE_ALTERNATE;
  GPIO_InitStruct.Speed = LL_GPIO_SPEED_FREQ_VERY_HIGH;
  GPIO_InitStruct.OutputType = LL_GPIO_OUTPUT_PUSHPULL;
  GPIO_InitStruct.Pull = LL_GPIO_PULL_NO;
  GPIO_InitStruct.Alternate = LL_GPIO_AF_7;
  LL_GPIO_Init(GPIOD, &GPIO_InitStruct);

  /**/
  GPIO_InitStruct.Pin = ARD_D15_Pin|ARD_D14_Pin;
  GPIO_InitStruct.Mode = LL_GPIO_MODE_ALTERNATE;
  GPIO_InitStruct.Speed = LL_GPIO_SPEED_FREQ_VERY_HIGH;
  GPIO_InitStruct.OutputType = LL_GPIO_OUTPUT_OPENDRAIN;
  GPIO_InitStruct.Pull = LL_GPIO_PULL_UP;
  GPIO_InitStruct.Alternate = LL_GPIO_AF_4;
  LL_GPIO_Init(GPIOB, &GPIO_InitStruct);

  /**/
  LL_SYSCFG_SetEXTISource(LL_SYSCFG_EXTI_PORTE, LL_SYSCFG_EXTI_LINE3);

  /**/
  LL_SYSCFG_SetEXTISource(LL_SYSCFG_EXTI_PORTE, LL_SYSCFG_EXTI_LINE5);

  /**/
  LL_SYSCFG_SetEXTISource(LL_SYSCFG_EXTI_PORTE, LL_SYSCFG_EXTI_LINE6);

  /**/
  LL_SYSCFG_SetEXTISource(LL_SYSCFG_EXTI_PORTC, LL_SYSCFG_EXTI_LINE13);

  /**/
  LL_SYSCFG_SetEXTISource(LL_SYSCFG_EXTI_PORTB, LL_SYSCFG_EXTI_LINE0);

  /**/
  LL_SYSCFG_SetEXTISource(LL_SYSCFG_EXTI_PORTD, LL_SYSCFG_EXTI_LINE10);

  /**/
  LL_SYSCFG_SetEXTISource(LL_SYSCFG_EXTI_PORTD, LL_SYSCFG_EXTI_LINE11);

  /**/
  LL_SYSCFG_SetEXTISource(LL_SYSCFG_EXTI_PORTD, LL_SYSCFG_EXTI_LINE14);

  /**/
  LL_SYSCFG_SetEXTISource(LL_SYSCFG_EXTI_PORTD, LL_SYSCFG_EXTI_LINE15);

  /**/
  LL_SYSCFG_SetEXTISource(LL_SYSCFG_EXTI_PORTC, LL_SYSCFG_EXTI_LINE7);

  /**/
  LL_SYSCFG_SetEXTISource(LL_SYSCFG_EXTI_PORTC, LL_SYSCFG_EXTI_LINE8);

  /**/
  LL_SYSCFG_SetEXTISource(LL_SYSCFG_EXTI_PORTD, LL_SYSCFG_EXTI_LINE2);

  /**/
  LL_SYSCFG_SetEXTISource(LL_SYSCFG_EXTI_PORTE, LL_SYSCFG_EXTI_LINE1);

  /**/
  EXTI_InitStruct.Line_0_31 = LL_EXTI_LINE_3;
  EXTI_InitStruct.Line_32_63 = LL_EXTI_LINE_NONE;
  EXTI_InitStruct.LineCommand = ENABLE;
  EXTI_InitStruct.Mode = LL_EXTI_MODE_IT;
  EXTI_InitStruct.Trigger = LL_EXTI_TRIGGER_RISING;
  LL_EXTI_Init(&EXTI_InitStruct);

  /**/
  EXTI_InitStruct.Line_0_31 = LL_EXTI_LINE_5;
  EXTI_InitStruct.Line_32_63 = LL_EXTI_LINE_NONE;
  EXTI_InitStruct.LineCommand = ENABLE;
  EXTI_InitStruct.Mode = LL_EXTI_MODE_IT;
  EXTI_InitStruct.Trigger = LL_EXTI_TRIGGER_RISING;
  LL_EXTI_Init(&EXTI_InitStruct);

  /**/
  EXTI_InitStruct.Line_0_31 = LL_EXTI_LINE_6;
  EXTI_InitStruct.Line_32_63 = LL_EXTI_LINE_NONE;
  EXTI_InitStruct.LineCommand = ENABLE;
  EXTI_InitStruct.Mode = LL_EXTI_MODE_IT;
  EXTI_InitStruct.Trigger = LL_EXTI_TRIGGER_RISING;
  LL_EXTI_Init(&EXTI_InitStruct);

  /**/
  EXTI_InitStruct.Line_0_31 = LL_EXTI_LINE_13;
  EXTI_InitStruct.Line_32_63 = LL_EXTI_LINE_NONE;
  EXTI_InitStruct.LineCommand = ENABLE;
  EXTI_InitStruct.Mode = LL_EXTI_MODE_IT;
  EXTI_InitStruct.Trigger = LL_EXTI_TRIGGER_FALLING;
  LL_EXTI_Init(&EXTI_InitStruct);

  /**/
  EXTI_InitStruct.Line_0_31 = LL_EXTI_LINE_0;
  EXTI_InitStruct.Line_32_63 = LL_EXTI_LINE_NONE;
  EXTI_InitStruct.LineCommand = ENABLE;
  EXTI_InitStruct.Mode = LL_EXTI_MODE_IT;
  EXTI_InitStruct.Trigger = LL_EXTI_TRIGGER_RISING;
  LL_EXTI_Init(&EXTI_InitStruct);

  /**/
  EXTI_InitStruct.Line_0_31 = LL_EXTI_LINE_10;
  EXTI_InitStruct.Line_32_63 = LL_EXTI_LINE_NONE;
  EXTI_InitStruct.LineCommand = ENABLE;
  EXTI_InitStruct.Mode = LL_EXTI_MODE_IT;
  EXTI_InitStruct.Trigger = LL_EXTI_TRIGGER_RISING;
  LL_EXTI_Init(&EXTI_InitStruct);

  /**/
  EXTI_InitStruct.Line_0_31 = LL_EXTI_LINE_11;
  EXTI_InitStruct.Line_32_63 = LL_EXTI_LINE_NONE;
  EXTI_InitStruct.LineCommand = ENABLE;
  EXTI_InitStruct.Mode = LL_EXTI_MODE_IT;
  EXTI_InitStruct.Trigger = LL_EXTI_TRIGGER_RISING;
  LL_EXTI_Init(&EXTI_InitStruct);

  /**/
  EXTI_InitStruct.Line_0_31 = LL_EXTI_LINE_14;
  EXTI_InitStruct.Line_32_63 = LL_EXTI_LINE_NONE;
  EXTI_InitStruct.LineCommand = ENABLE;
  EXTI_InitStruct.Mode = LL_EXTI_MODE_IT;
  EXTI_InitStruct.Trigger = LL_EXTI_TRIGGER_RISING;
  LL_EXTI_Init(&EXTI_InitStruct);

  /**/
  EXTI_InitStruct.Line_0_31 = LL_EXTI_LINE_15;
  EXTI_InitStruct.Line_32_63 = LL_EXTI_LINE_NONE;
  EXTI_InitStruct.LineCommand = ENABLE;
  EXTI_InitStruct.Mode = LL_EXTI_MODE_IT;
  EXTI_InitStruct.Trigger = LL_EXTI_TRIGGER_RISING;
  LL_EXTI_Init(&EXTI_InitStruct);

  /**/
  EXTI_InitStruct.Line_0_31 = LL_EXTI_LINE_7;
  EXTI_InitStruct.Line_32_63 = LL_EXTI_LINE_NONE;
  EXTI_InitStruct.LineCommand = ENABLE;
  EXTI_InitStruct.Mode = LL_EXTI_MODE_IT;
  EXTI_InitStruct.Trigger = LL_EXTI_TRIGGER_RISING;
  LL_EXTI_Init(&EXTI_InitStruct);

  /**/
  EXTI_InitStruct.Line_0_31 = LL_EXTI_LINE_8;
  EXTI_InitStruct.Line_32_63 = LL_EXTI_LINE_NONE;
  EXTI_InitStruct.LineCommand = ENABLE;
  EXTI_InitStruct.Mode = LL_EXTI_MODE_IT;
  EXTI_InitStruct.Trigger = LL_EXTI_TRIGGER_RISING;
  LL_EXTI_Init(&EXTI_InitStruct);

  /**/
  EXTI_InitStruct.Line_0_31 = LL_EXTI_LINE_2;
  EXTI_InitStruct.Line_32_63 = LL_EXTI_LINE_NONE;
  EXTI_InitStruct.LineCommand = ENABLE;
  EXTI_InitStruct.Mode = LL_EXTI_MODE_IT;
  EXTI_InitStruct.Trigger = LL_EXTI_TRIGGER_RISING;
  LL_EXTI_Init(&EXTI_InitStruct);

  /**/
  EXTI_InitStruct.Line_0_31 = LL_EXTI_LINE_1;
  EXTI_InitStruct.Line_32_63 = LL_EXTI_LINE_NONE;
  EXTI_InitStruct.LineCommand = ENABLE;
  EXTI_InitStruct.Mode = LL_EXTI_MODE_IT;
  EXTI_InitStruct.Trigger = LL_EXTI_TRIGGER_RISING;
  LL_EXTI_Init(&EXTI_InitStruct);

  /**/
  LL_GPIO_SetPinPull(USB_OTG_FS_OVRCR_EXTI3_GPIO_Port, USB_OTG_FS_OVRCR_EXTI3_Pin, LL_GPIO_PULL_NO);

  /**/
  LL_GPIO_SetPinPull(SPSGRF_915_GPIO3_EXTI5_GPIO_Port, SPSGRF_915_GPIO3_EXTI5_Pin, LL_GPIO_PULL_NO);

  /**/
  LL_GPIO_SetPinPull(SPBTLE_RF_IRQ_EXTI6_GPIO_Port, SPBTLE_RF_IRQ_EXTI6_Pin, LL_GPIO_PULL_NO);

  /**/
  LL_GPIO_SetPinPull(BUTTON_EXTI13_GPIO_Port, BUTTON_EXTI13_Pin, LL_GPIO_PULL_NO);

  /**/
  LL_GPIO_SetPinPull(ARD_D3_GPIO_Port, ARD_D3_Pin, LL_GPIO_PULL_NO);

  /**/
  LL_GPIO_SetPinPull(LPS22HB_INT_DRDY_EXTI0_GPIO_Port, LPS22HB_INT_DRDY_EXTI0_Pin, LL_GPIO_PULL_NO);

  /**/
  LL_GPIO_SetPinPull(LSM6DSL_INT1_EXTI11_GPIO_Port, LSM6DSL_INT1_EXTI11_Pin, LL_GPIO_PULL_NO);

  /**/
  LL_GPIO_SetPinPull(ARD_D2_GPIO_Port, ARD_D2_Pin, LL_GPIO_PULL_NO);

  /**/
  LL_GPIO_SetPinPull(HTS221_DRDY_EXTI15_GPIO_Port, HTS221_DRDY_EXTI15_Pin, LL_GPIO_PULL_NO);

  /**/
  LL_GPIO_SetPinPull(VL53L0X_GPIO1_EXTI7_GPIO_Port, VL53L0X_GPIO1_EXTI7_Pin, LL_GPIO_PULL_NO);

  /**/
  LL_GPIO_SetPinPull(LSM3MDL_DRDY_EXTI8_GPIO_Port, LSM3MDL_DRDY_EXTI8_Pin, LL_GPIO_PULL_NO);

  /**/
  LL_GPIO_SetPinPull(PMOD_IRQ_EXTI12_GPIO_Port, PMOD_IRQ_EXTI12_Pin, LL_GPIO_PULL_NO);

  /**/
  LL_GPIO_SetPinPull(ISM43362_DRDY_EXTI1_GPIO_Port, ISM43362_DRDY_EXTI1_Pin, LL_GPIO_PULL_NO);

  /**/
  LL_GPIO_SetPinMode(USB_OTG_FS_OVRCR_EXTI3_GPIO_Port, USB_OTG_FS_OVRCR_EXTI3_Pin, LL_GPIO_MODE_INPUT);

  /**/
  LL_GPIO_SetPinMode(SPSGRF_915_GPIO3_EXTI5_GPIO_Port, SPSGRF_915_GPIO3_EXTI5_Pin, LL_GPIO_MODE_INPUT);

  /**/
  LL_GPIO_SetPinMode(SPBTLE_RF_IRQ_EXTI6_GPIO_Port, SPBTLE_RF_IRQ_EXTI6_Pin, LL_GPIO_MODE_INPUT);

  /**/
  LL_GPIO_SetPinMode(BUTTON_EXTI13_GPIO_Port, BUTTON_EXTI13_Pin, LL_GPIO_MODE_INPUT);

  /**/
  LL_GPIO_SetPinMode(ARD_D3_GPIO_Port, ARD_D3_Pin, LL_GPIO_MODE_INPUT);

  /**/
  LL_GPIO_SetPinMode(LPS22HB_INT_DRDY_EXTI0_GPIO_Port, LPS22HB_INT_DRDY_EXTI0_Pin, LL_GPIO_MODE_INPUT);

  /**/
  LL_GPIO_SetPinMode(LSM6DSL_INT1_EXTI11_GPIO_Port, LSM6DSL_INT1_EXTI11_Pin, LL_GPIO_MODE_INPUT);

  /**/
  LL_GPIO_SetPinMode(ARD_D2_GPIO_Port, ARD_D2_Pin, LL_GPIO_MODE_INPUT);

  /**/
  LL_GPIO_SetPinMode(HTS221_DRDY_EXTI15_GPIO_Port, HTS221_DRDY_EXTI15_Pin, LL_GPIO_MODE_INPUT);

  /**/
  LL_GPIO_SetPinMode(VL53L0X_GPIO1_EXTI7_GPIO_Port, VL53L0X_GPIO1_EXTI7_Pin, LL_GPIO_MODE_INPUT);

  /**/
  LL_GPIO_SetPinMode(LSM3MDL_DRDY_EXTI8_GPIO_Port, LSM3MDL_DRDY_EXTI8_Pin, LL_GPIO_MODE_INPUT);

  /**/
  LL_GPIO_SetPinMode(PMOD_IRQ_EXTI12_GPIO_Port, PMOD_IRQ_EXTI12_Pin, LL_GPIO_MODE_INPUT);

  /**/
  LL_GPIO_SetPinMode(ISM43362_DRDY_EXTI1_GPIO_Port, ISM43362_DRDY_EXTI1_Pin, LL_GPIO_MODE_INPUT);

  /**/
  LL_GPIO_EnablePinAnalogControl(GPIOC, ARD_A5_Pin|ARD_A4_Pin|ARD_A3_Pin|ARD_A2_Pin
                          |ARD_A1_Pin|ARD_A0_Pin);

  /* EXTI interrupt init*/
  NVIC_SetPriority(EXTI9_5_IRQn, NVIC_EncodePriority(NVIC_GetPriorityGrouping(),0, 0));
  NVIC_EnableIRQ(EXTI9_5_IRQn);
  NVIC_SetPriority(EXTI15_10_IRQn, NVIC_EncodePriority(NVIC_GetPriorityGrouping(),0, 0));
  NVIC_EnableIRQ(EXTI15_10_IRQn);

}

void Error_Handler(void)
{
}

/************************ (C) COPYRIGHT STMicroelectronics *****END OF FILE****/
